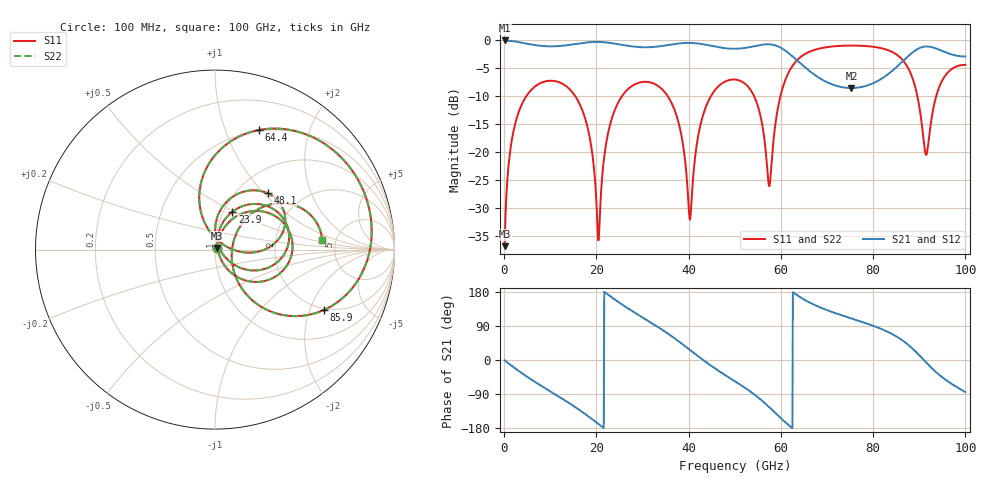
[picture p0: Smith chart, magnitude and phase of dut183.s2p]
! Touchstone file exported from HFSS 2026.1.0
!  File:  C:/ffzhzh/LocalFiles/Ansys_Project_Files/temp_test_TSV_RDL_183_1783477021_33644.aedt
!  Generated:  10:24:16 AM Jul  8, 2026
!  Design:  TSV_RDL
!  Project:  temp_test_TSV_RDL_183_1783477021_33644
! Variables:
!  h_bsmrdl = 4.79um
!  h_ox = 20um
!  h_rdl = 5um
!  h_sub = 73.58um
!  h_tmrdl = 4.49um
!  h_tsv = 73.58um
!  h_via = 3um
!  l_bsmrdl = 417.12um
!  l_sub = 2708.36um
!  l_tmrdl = 234.4um
!  m_sub = 200um
!  pitch = 41.99um
!  r_tsv = 5.95um
!  s_tmrdl = 10um
!  w_bsmrdl = 27.06um
!  w_sub = 500um
!  w_tmrdl = 12.74um
!  x_tsv_center1 = 240.77um
!  x_tsv_center2 = 684.95um
!  x_tsv_center3 = 932.09um
!  x_tsv_center4 = 1376.27um
!  x_tsv_center5 = 1623.41um
!  x_tsv_center6 = 2067.59um
# GHz S MA R 50.000000
! Terminal data exported
! Port[1] = TM_RDL1_1_T1
! Port[2] = TM_RDL5_1_T1
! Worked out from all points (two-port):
!   1000 points, 100 MHz to 100 GHz, reference 50 ohm
!   highest |S21| = -0.10 dB at 100 MHz (marker M1); lowest = -8.6 dB at 75.3 GHz (marker M2)
!   |S21| within 3 dB of the highest: start of sweep to 62.75 GHz; 87.33 GHz to end of sweep
!   lowest |S11| = -36.7 dB at 100 MHz (marker M3), VSWR 1.03, Z = 51.2 + j0.862 ohm
!   |S11| at or under -10 dB: 15.4 GHz to 25.57 GHz (10.17 GHz wide, 49.7 % of centre); 35.44 GHz to 44.85 GHz (9.405 GHz wide, 23.4 % of centre); 54.18 GHz to 59.9 GHz (5.729 GHz wide, 10 % of centre) (the widest 3 of 5)
!   |S22| runs from -36.7 to -1.0 dB; largest |S21 - S12| = 1.4e-13
!   S11 on the Smith chart (normalised r, x): 100 MHz: 1.02, +0.02; 23.9 GHz: 1.10, +0.49; 48.1 GHz: 1.36, +1.05; 64.4 GHz: 0.49, +1.32; 85.9 GHz: 1.94, -2.52; 100 GHz: 3.89, +0.62
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0.1  0.01459 35.2  0.9882 -1.0  0.9882 -1.0  0.01459 35.2
! Gamma 0 0 0 0
! Port Impedance 50 0 50 0
1.7  0.1312 67.1  0.9756 -15.9  0.9756 -15.9  0.1312 67.1
4.8  0.315 43.2  0.9269 -42.9  0.9269 -42.9  0.315 43.2
16.8  0.2449 -44.9  0.9364 -135.9  0.9364 -135.9  0.2449 -44.9
20.4  0.01641 -1.5  0.9591 -168.3  0.9591 -168.3  0.01638 -1.9
23.9  0.2322 65.3  0.9272 160.4  0.9272 160.4  0.2321 65.3
33.4  0.3881 -3.3  0.8734 86.6  0.8734 86.6  0.388 -3.4
37.8  0.1843 -34.7  0.9277 49.7  0.9277 49.7  0.1842 -35.0
40.3  0.02511 29.1  0.94 26.5  0.94 26.5  0.02427 29.2
43  0.2054 83.7  0.9162 1.3  0.9162 1.3  0.2053 83.9
48.1  0.4294 46.9  0.8409 -41.2  0.8409 -41.2  0.4293 47.0
50.1  0.4434 32.9  0.8335 -56.6  0.8335 -56.6  0.4434 32.9
54.7  0.2807 0.4  0.8865 -95.2  0.8865 -95.2  0.2808 0.4
57.5  0.04981 56.1  0.9124 -124.8  0.9124 -124.8  0.04922 56.0
60.1  0.3401 104.6  0.8449 -155.0  0.8449 -155.0  0.3399 104.7
64.4  0.7102 69.8  0.6094 164.2  0.6094 164.2  0.71 69.8
66.7  0.7993 55.6  0.5096 148.8  0.5096 148.8  0.7991 55.6
75.3  0.8899 19.4  0.3728 109.7  0.3728 109.7  0.8898 19.4
83.4  0.8048 -13.9  0.501 72.9  0.501 72.9  0.8047 -13.8
85.9  0.695 -28.9  0.6156 55.6  0.6156 55.6  0.6948 -28.9
91.5  0.09462 -3.8  0.8733 -6.7  0.8733 -6.7  0.09423 -3.7
100  0.5992 4.9  0.7119 -84.7  0.7119 -84.7  0.5993 5.0
